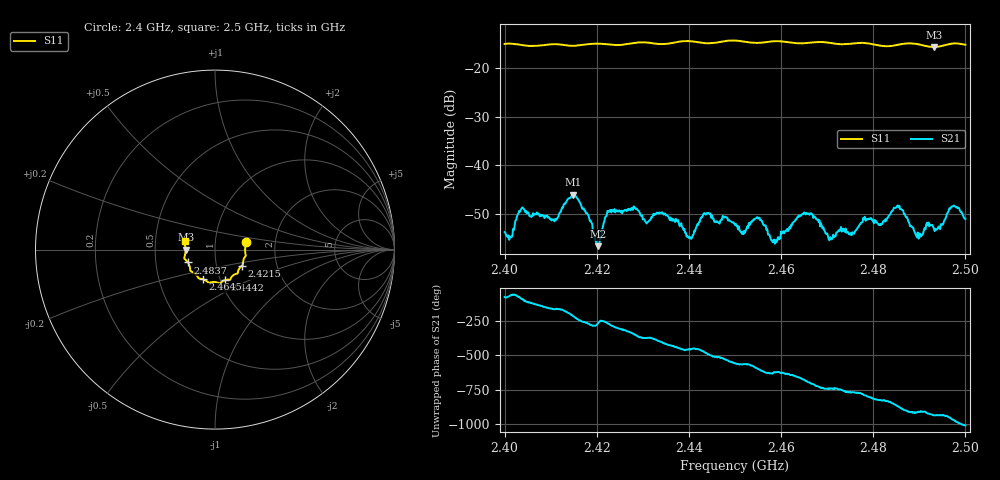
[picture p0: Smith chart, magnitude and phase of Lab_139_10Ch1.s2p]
# Hz S RI R 50
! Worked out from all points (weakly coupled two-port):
!   601 points, 2.4 GHz to 2.5 GHz, reference 50 ohm
!   highest |S21| = -46.06 dB at 2.4148 GHz (marker M1); lowest = -56.6 dB at 2.4203 GHz (marker M2)
!   lowest |S11| = -15.7 dB at 2.4932 GHz (marker M3), VSWR 1.39, Z = 35.9 - j0.0563 ohm
!   |S11| at or under -10 dB: start of sweep to end of sweep
!   S12 and S22 are empty: the file has one direction only
!   S11 on the Smith chart (normalised r, x): 2.4 GHz: 1.41, +0.12; 2.4215 GHz: 1.33, -0.25; 2.4442 GHz: 1.05, -0.37; 2.4645 GHz: 0.83, -0.29; 2.4837 GHz: 0.73, -0.11; 2.5 GHz: 0.71, +0.07
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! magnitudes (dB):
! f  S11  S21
! 2.4 GHz  -15.1  -53.7
! 2.4037 GHz  -15.3  -48.9
! 2.4107 GHz  -15.1  -51.3
! 2.4148 GHz  -15.5  -46.1
! 2.4167 GHz  -15.3  -48.4
! 2.4203 GHz  -15.0  -56.6
! 2.4215 GHz  -15.1  -51.9
! 2.4333 GHz  -15.1  -49.9
! 2.4402 GHz  -14.5  -54.7
! 2.4442 GHz  -15.0  -49.8
! 2.45 GHz  -14.4  -52.3
! 2.4552 GHz  -14.9  -50.8
! 2.4587 GHz  -14.5  -56.1
! 2.4645 GHz  -15.0  -50.2
! 2.4667 GHz  -14.8  -50.0
! 2.4707 GHz  -14.9  -54.8
! 2.4833 GHz  -15.6  -50.4
! 2.4837 GHz  -15.5  -50.1
! 2.4898 GHz  -15.2  -55.1
! 2.4932 GHz  -15.7  -52.9
! 2.4973 GHz  -15.0  -48.4
! 2.5 GHz  -15.2  -51.0
